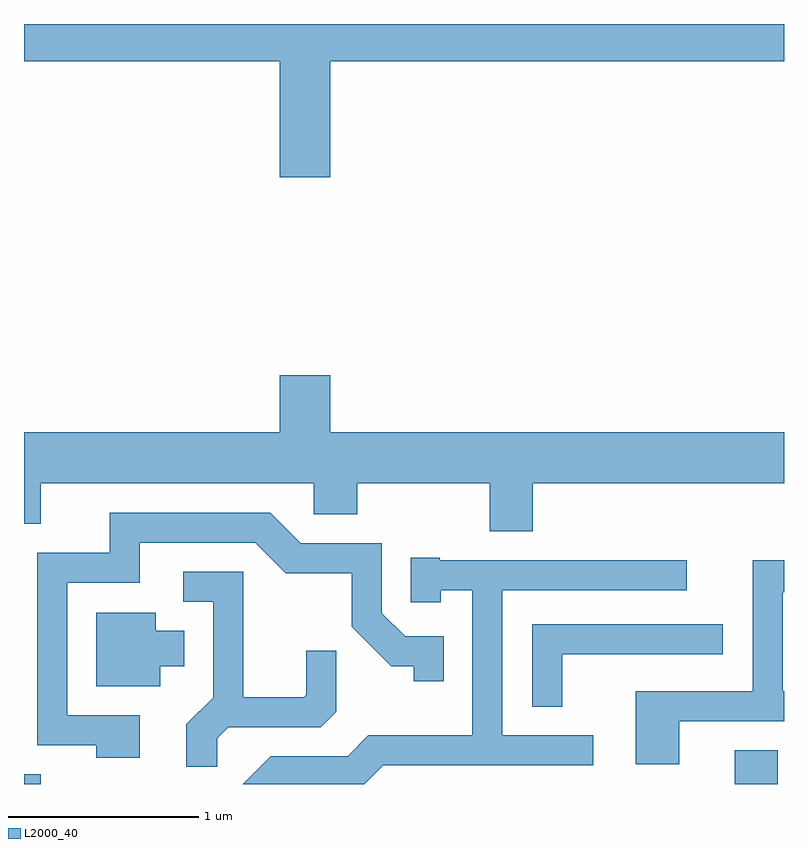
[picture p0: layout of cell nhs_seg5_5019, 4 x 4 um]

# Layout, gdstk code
import gdstk
lib = gdstk.Library(unit=1e-6, precision=1e-09)
def R(c, l, rs):  # rectangles x0, y0, x1, y1
    for r in rs: c.add(gdstk.rectangle(r[:2], r[2:], *l))
def P(c, l, *ps):  # polygons
    for p in ps: c.add(gdstk.Polygon(p, *l))
L2000_40 = (2000, 40)

nhs_seg5_5019 = lib.new_cell('nhs_seg5_5019')
R(nhs_seg5_5019, L2000_40, [(333.611,1484.072,333.699,1484.124), (337.351,1484.072,337.579,1484.249)])
P(nhs_seg5_5019, L2000_40, [(335.224,1487.876),(337.611,1487.876),(337.611,1488.072),(333.611,1488.072),(333.611,1487.876),(334.956,1487.876),(334.956,1487.266),(335.224,1487.266)],
  [(336.289,1485.656),(337.611,1485.656),(337.611,1485.924),(335.224,1485.924),(335.224,1486.224),(334.956,1486.224),(334.956,1485.924),(333.611,1485.924),(333.611,1485.441),(333.699,1485.441),(333.699,1485.656),(335.136,1485.656),(335.136,1485.491),(335.364,1485.491),(335.364,1485.656),(336.061,1485.656),(336.061,1485.401),(336.289,1485.401)],
  [(334.219,1484.434),(333.839,1484.434),(333.839,1485.131),(334.219,1485.131),(334.219,1485.341),(334.829,1485.341),(334.989,1485.181),(335.336,1485.181),(335.336,1484.899),(335.544,1484.691),(335.661,1484.691),(335.661,1484.613),(335.819,1484.613),(335.819,1484.849),(335.617,1484.849),(335.494,1484.972),(335.494,1485.339),(335.067,1485.339),(334.907,1485.499),(334.061,1485.499),(334.061,1485.289),(333.681,1485.289),(333.681,1484.276),(333.991,1484.276),(333.991,1484.211),(334.219,1484.211)],
  [(335.502,1484.171),(336.608,1484.171),(336.608,1484.329),(336.129,1484.329),(336.129,1485.091),(337.098,1485.091),(337.098,1485.249),(335.8,1485.249),(335.8,1485.264),(335.646,1485.264),(335.646,1485.028),(335.804,1485.028),(335.804,1485.091),(335.971,1485.091),(335.971,1484.329),(335.424,1484.329),(335.314,1484.219),(334.909,1484.219),(334.762,1484.072),(335.403,1484.072)],
  [(337.059,1484.401),(337.611,1484.401),(337.611,1484.559),(337.604,1484.559),(337.604,1485.081),(337.611,1485.081),(337.611,1485.249),(337.446,1485.249),(337.446,1484.559),(336.831,1484.559),(336.831,1484.176),(337.059,1484.176)],
  [(334.629,1484.314),(334.687,1484.371),(335.174,1484.371),(335.254,1484.452),(335.254,1484.773),(335.096,1484.773),(335.096,1484.542),(335.084,1484.529),(334.764,1484.529),(334.764,1485.189),(334.448,1485.189),(334.448,1485.031),(334.606,1485.031),(334.606,1484.527),(334.466,1484.387),(334.466,1484.163),(334.629,1484.163)],
  [(334.329,1484.691),(334.454,1484.691),(334.454,1484.879),(334.304,1484.879),(334.304,1484.974),(333.991,1484.974),(333.991,1484.586),(334.329,1484.586)],
  [(336.444,1484.756),(337.288,1484.756),(337.288,1484.914),(336.286,1484.914),(336.286,1484.478),(336.444,1484.478)])

lib.write_gds('nhs_seg5_5019.gds')
